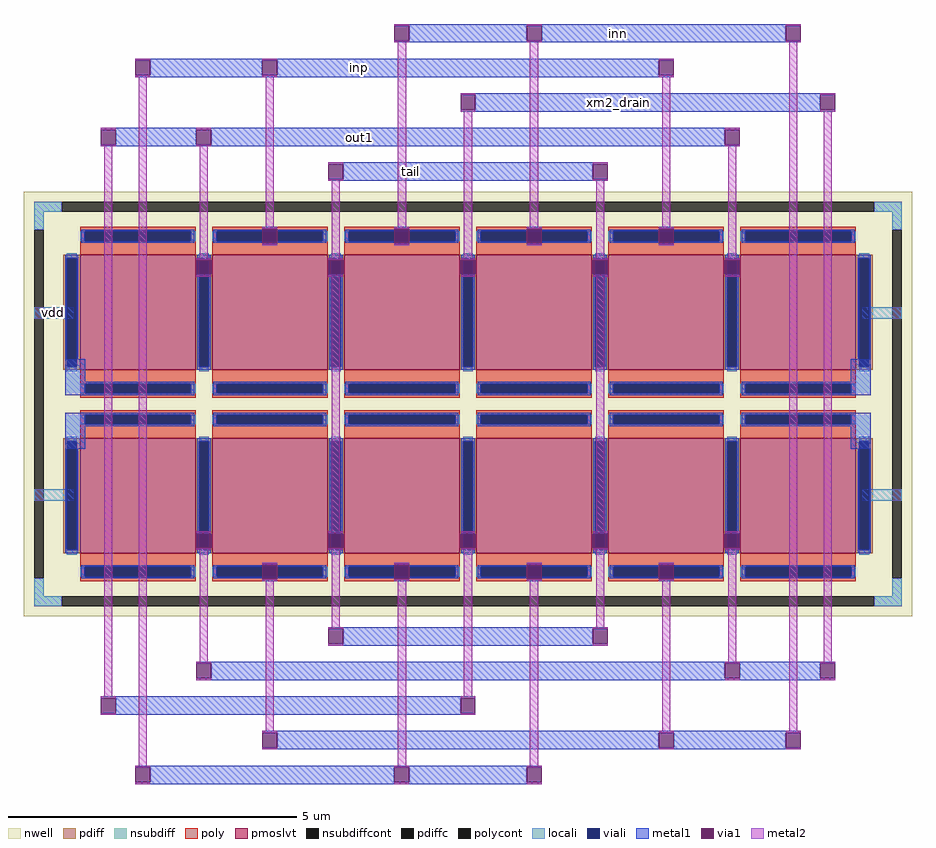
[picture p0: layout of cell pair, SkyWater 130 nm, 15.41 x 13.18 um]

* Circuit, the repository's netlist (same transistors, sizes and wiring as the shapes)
* SPDX-License-Identifier: Apache-2.0
* Copyright 2026 Mauro Rodriguez Blasco
*
* Second layout exercise: the comparator's PMOS input pair (XM1, XM2), one unit w=2 l=2 and
* four units each, as one low-Vt device of two rows of six fingers (m=2, nf=6) in one n-well
* with its guard ring: a 2 x 4 common centroid, top row D A B B A D, bottom row D B A A B D.
* A is XM1 (inp, out1), B is XM2 (inn, xm2_drain), D a dummy with its gate and outer column
* at vdd. The fingers share diffusion, so in the top row the dummies touch A's drain and in
* the bottom row B's: two dummies on each drain, which keeps out1 and xm2_drain equally loaded.
* Diffusion columns, left to right: top row vdd out1 tail xm2_drain tail out1 vdd; bottom row
* vdd xm2_drain tail out1 tail xm2_drain vdd. Guard ring (the body): vdd.
* Reference for LVS (scripts/flow.py lvs pair).
.subckt pair inp inn out1 xm2_drain tail vdd
XM1 out1 inp tail vdd sky130_fd_pr__pfet_01v8_lvt w=2 l=2 mult=4 m=4
XM2 xm2_drain inn tail vdd sky130_fd_pr__pfet_01v8_lvt w=2 l=2 mult=4 m=4
XMDA out1 vdd vdd vdd sky130_fd_pr__pfet_01v8_lvt w=2 l=2 mult=2 m=2
XMDB xm2_drain vdd vdd vdd sky130_fd_pr__pfet_01v8_lvt w=2 l=2 mult=2 m=2
.ends pair

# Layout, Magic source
magic
tech sky130A
magscale 1 2
<< locali >>
rect -17 980 120 1020
rect 2856 980 2993 1020
rect -17 348 120 388
rect 2856 348 2993 388
<< metal1 >>
rect 1233 1996 2642 2002
rect 1285 1944 1691 1996
rect 1743 1944 2590 1996
rect 1233 1938 2642 1944
rect 334 1876 2201 1882
rect 386 1824 775 1876
rect 827 1824 2149 1876
rect 334 1818 2201 1824
rect 1462 1756 2762 1762
rect 1514 1704 2710 1756
rect 1462 1698 2762 1704
rect 214 1636 2430 1642
rect 266 1584 546 1636
rect 598 1584 2378 1636
rect 214 1578 2430 1584
rect 1004 1516 1972 1522
rect 1056 1464 1920 1516
rect 1004 1458 1972 1464
rect 775 1292 827 1298
rect 775 1234 827 1240
rect 1233 1292 1285 1298
rect 1233 1234 1285 1240
rect 1691 1292 1743 1298
rect 1691 1234 1743 1240
rect 2149 1292 2201 1298
rect 2149 1234 2201 1240
rect 546 1184 598 1190
rect 546 1126 598 1132
rect 1004 1184 1056 1190
rect 1004 1126 1056 1132
rect 1462 1184 1514 1190
rect 1462 1126 1514 1132
rect 1920 1184 1972 1190
rect 1920 1126 1972 1132
rect 2378 1184 2430 1190
rect 2378 1126 2430 1132
rect 91 715 160 840
rect 2816 715 2885 840
rect 91 528 160 653
rect 2816 528 2885 653
rect 546 236 598 242
rect 546 178 598 184
rect 1004 236 1056 242
rect 1004 178 1056 184
rect 1462 236 1514 242
rect 1462 178 1514 184
rect 1920 236 1972 242
rect 1920 178 1972 184
rect 2378 236 2430 242
rect 2378 178 2430 184
rect 775 128 827 134
rect 775 70 827 76
rect 1233 128 1285 134
rect 1233 70 1285 76
rect 1691 128 1743 134
rect 1691 70 1743 76
rect 2149 128 2201 134
rect 2149 70 2201 76
rect 1004 -96 1972 -90
rect 1056 -148 1920 -96
rect 1004 -154 1972 -148
rect 546 -216 2762 -210
rect 598 -268 2378 -216
rect 2430 -268 2710 -216
rect 546 -274 2762 -268
rect 214 -336 1514 -330
rect 266 -388 1462 -336
rect 214 -394 1514 -388
rect 775 -456 2642 -450
rect 827 -508 2149 -456
rect 2201 -508 2590 -456
rect 775 -514 2642 -508
rect 334 -576 1743 -570
rect 386 -628 1233 -576
rect 1285 -628 1691 -576
rect 334 -634 1743 -628
<< via1 >>
rect 1233 1944 1285 1996
rect 1691 1944 1743 1996
rect 2590 1944 2642 1996
rect 334 1824 386 1876
rect 775 1824 827 1876
rect 2149 1824 2201 1876
rect 1462 1704 1514 1756
rect 2710 1704 2762 1756
rect 214 1584 266 1636
rect 546 1584 598 1636
rect 2378 1584 2430 1636
rect 1004 1464 1056 1516
rect 1920 1464 1972 1516
rect 775 1240 827 1292
rect 1233 1240 1285 1292
rect 1691 1240 1743 1292
rect 2149 1240 2201 1292
rect 546 1132 598 1184
rect 1004 1132 1056 1184
rect 1462 1132 1514 1184
rect 1920 1132 1972 1184
rect 2378 1132 2430 1184
rect 546 184 598 236
rect 1004 184 1056 236
rect 1462 184 1514 236
rect 1920 184 1972 236
rect 2378 184 2430 236
rect 775 76 827 128
rect 1233 76 1285 128
rect 1691 76 1743 128
rect 2149 76 2201 128
rect 1004 -148 1056 -96
rect 1920 -148 1972 -96
rect 546 -268 598 -216
rect 2378 -268 2430 -216
rect 2710 -268 2762 -216
rect 214 -388 266 -336
rect 1462 -388 1514 -336
rect 775 -508 827 -456
rect 2149 -508 2201 -456
rect 2590 -508 2642 -456
rect 334 -628 386 -576
rect 1233 -628 1285 -576
rect 1691 -628 1743 -576
<< metal2 >>
rect 1233 1996 1285 2002
rect 1233 1938 1285 1944
rect 1691 1996 1743 2002
rect 1691 1938 1743 1944
rect 2590 1996 2642 2002
rect 2590 1938 2642 1944
rect 334 1876 386 1882
rect 334 1818 386 1824
rect 775 1876 827 1882
rect 775 1818 827 1824
rect 214 1636 266 1642
rect 214 1578 266 1584
rect 226 -330 254 1578
rect 214 -336 266 -330
rect 214 -394 266 -388
rect 346 -570 374 1818
rect 546 1636 598 1642
rect 546 1578 598 1584
rect 558 1190 586 1578
rect 787 1298 815 1818
rect 1004 1516 1056 1522
rect 1004 1458 1056 1464
rect 775 1292 827 1298
rect 775 1234 827 1240
rect 1016 1190 1044 1458
rect 1245 1298 1273 1938
rect 1462 1756 1514 1762
rect 1462 1698 1514 1704
rect 1233 1292 1285 1298
rect 1233 1234 1285 1240
rect 1474 1190 1502 1698
rect 1703 1298 1731 1938
rect 2149 1876 2201 1882
rect 2149 1818 2201 1824
rect 1920 1516 1972 1522
rect 1920 1458 1972 1464
rect 1691 1292 1743 1298
rect 1691 1234 1743 1240
rect 1932 1190 1960 1458
rect 2161 1298 2189 1818
rect 2378 1636 2430 1642
rect 2378 1578 2430 1584
rect 2149 1292 2201 1298
rect 2149 1234 2201 1240
rect 2390 1190 2418 1578
rect 546 1184 598 1190
rect 546 1126 598 1132
rect 1004 1184 1056 1190
rect 1004 1126 1056 1132
rect 1462 1184 1514 1190
rect 1462 1126 1514 1132
rect 1920 1184 1972 1190
rect 1920 1126 1972 1132
rect 2378 1184 2430 1190
rect 2378 1126 2430 1132
rect 1016 242 1044 1126
rect 1932 242 1960 1126
rect 546 236 598 242
rect 546 178 598 184
rect 1004 236 1056 242
rect 1004 178 1056 184
rect 1462 236 1514 242
rect 1462 178 1514 184
rect 1920 236 1972 242
rect 1920 178 1972 184
rect 2378 236 2430 242
rect 2378 178 2430 184
rect 558 -210 586 178
rect 775 128 827 134
rect 775 70 827 76
rect 546 -216 598 -210
rect 546 -274 598 -268
rect 787 -450 815 70
rect 1016 -90 1044 178
rect 1233 128 1285 134
rect 1233 70 1285 76
rect 1004 -96 1056 -90
rect 1004 -154 1056 -148
rect 775 -456 827 -450
rect 775 -514 827 -508
rect 1245 -570 1273 70
rect 1474 -330 1502 178
rect 1691 128 1743 134
rect 1691 70 1743 76
rect 1462 -336 1514 -330
rect 1462 -394 1514 -388
rect 1703 -570 1731 70
rect 1932 -90 1960 178
rect 2149 128 2201 134
rect 2149 70 2201 76
rect 1920 -96 1972 -90
rect 1920 -154 1972 -148
rect 2161 -450 2189 70
rect 2390 -210 2418 178
rect 2378 -216 2430 -210
rect 2378 -274 2430 -268
rect 2602 -450 2630 1938
rect 2710 1756 2762 1762
rect 2710 1698 2762 1704
rect 2722 -210 2750 1698
rect 2710 -216 2762 -210
rect 2710 -274 2762 -268
rect 2149 -456 2201 -450
rect 2149 -514 2201 -508
rect 2590 -456 2642 -450
rect 2590 -514 2642 -508
rect 334 -576 386 -570
rect 334 -634 386 -628
rect 1233 -576 1285 -570
rect 1233 -634 1285 -628
rect 1691 -576 1743 -570
rect 1691 -634 1743 -628
use sky130_fd_pr__pfet_01v8_lvt_XXW46M  XM
transform 1 0 1488 0 1 684
box -1541 -737 1541 737
<< labels >>
flabel locali 40 990 60 1010 0 FreeSans 3 0 0 0 vdd
port 1 nsew
flabel metal1 1280 1480 1300 1500 0 FreeSans 3 0 0 0 tail
port 2 nsew
flabel metal1 1100 1600 1120 1620 0 FreeSans 3 0 0 0 out1
port 3 nsew
flabel metal1 2000 1720 2020 1740 0 FreeSans 3 0 0 0 xm2_drain
port 4 nsew
flabel metal1 1100 1840 1120 1860 0 FreeSans 3 0 0 0 inp
port 5 nsew
flabel metal1 2000 1960 2020 1980 0 FreeSans 3 0 0 0 inn
port 6 nsew
<< end >>

# cell sky130_fd_pr__pfet_01v8_lvt_XXW46M: kit device sky130_fd_pr__pfet_01v8_lvt, w 2 l 2 m 2 nf 6 diffcov 100 polycov 100 guard 1 glc 1 grc 1 gtc 1 gbc 1 tbcov 100 rlcov 100 topc 1 botc 1 poverlap 0 doverlap 1 lmin 0.35 wmin 0.42 class mosfet compatible {sky130_fd_pr__pfet_01v8 sky130_fd_pr__pfet_01v8_lvt sky130_fd_pr__pfet_01v8_hvt sky130_fd_pr__pfet_g5v0d10v5} full_metal 1 conn_gates 0 viasrc 100 viadrn 100 viagate 100 viagb 0 viagr 0 viagl 0 viagt 0 doports 1
